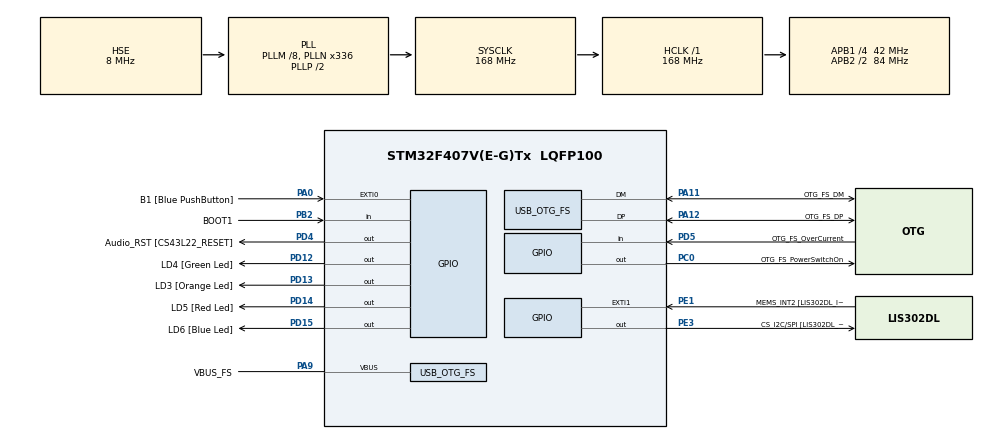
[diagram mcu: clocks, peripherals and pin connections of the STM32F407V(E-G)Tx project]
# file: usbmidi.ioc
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Mcu.Family=STM32F4
Mcu.Name=STM32F407V(E-G)Tx
Mcu.Package=LQFP100
NVIC.OTG_FS_IRQn=true\:0\:0\:false
NVIC.PriorityGroup=NVIC_PRIORITYGROUP_0
PA0-WKUP.GPIO_Label=B1 [Blue PushButton]
PA0-WKUP.GPIO_ModeDefaultEXTI=GPIO_MODE_EVT_RISING
PA0-WKUP.GPIO_PuPd=GPIO_NOPULL
PA0-WKUP.Signal=GPXTI0
PA10.GPIO_Label=OTG_FS_ID
PA10.GPIO_Mode=GPIO_MODE_AF_PP
PA10.GPIO_PuPd=GPIO_NOPULL
PA10.GPIO_Speed=GPIO_SPEED_LOW
PA10.Signal=USB_OTG_FS_ID
PA11.GPIO_Label=OTG_FS_DM
PA11.GPIO_Mode=GPIO_MODE_AF_PP
PA11.GPIO_PuPd=GPIO_NOPULL
PA11.GPIO_Speed=GPIO_SPEED_LOW
PA11.Mode=Device_Only
PA11.Signal=USB_OTG_FS_DM
PA12.GPIO_Label=OTG_FS_DP
PA12.GPIO_Mode=GPIO_MODE_AF_PP
PA12.GPIO_PuPd=GPIO_NOPULL
PA12.GPIO_Speed=GPIO_SPEED_LOW
PA12.Mode=Device_Only
PA12.Signal=USB_OTG_FS_DP
PA13.GPIO_Label=SWDIO
PA13.Mode=Trace-Asynchronous_SW
PA13.Signal=SYS_JTMS-SWDIO
PA14.GPIO_Label=SWCLK
PA14.Mode=Trace-Asynchronous_SW
PA14.Signal=SYS_JTCK-SWCLK
PA4.GPIO_Label=I2S3_WS [CS43L22_LRCK]
PA4.GPIO_Mode=GPIO_MODE_AF_PP
PA4.GPIO_PuPd=GPIO_NOPULL
PA4.GPIO_Speed=GPIO_SPEED_LOW
PA4.Signal=I2S3_WS
PA5.GPIO_Label=SPI1_SCK [LIS302DL_SCL/SPC]
PA5.GPIO_Mode=GPIO_MODE_AF_PP
PA5.GPIO_PuPd=GPIO_NOPULL
PA5.GPIO_Speed=GPIO_SPEED_LOW
PA5.Signal=SPI1_SCK
PA6.GPIO_Label=SPI1_MISO [LIS302DL_SDO]
PA6.GPIO_Mode=GPIO_MODE_AF_PP
PA6.GPIO_PuPd=GPIO_NOPULL
PA6.GPIO_Speed=GPIO_SPEED_LOW
PA6.Signal=SPI1_MISO
PA7.GPIO_Label=SPI1_MOSI [LIS302DL_SDA/SDI/SDO]
PA7.GPIO_Mode=GPIO_MODE_AF_PP
PA7.GPIO_PuPd=GPIO_NOPULL
PA7.GPIO_Speed=GPIO_SPEED_LOW
PA7.Signal=SPI1_MOSI
PA9.GPIO_Label=VBUS_FS
PA9.GPIO_Mode=GPIO_MODE_INPUT
PA9.GPIO_PuPd=GPIO_NOPULL
PA9.Mode=Activate_VBUS
PA9.Signal=USB_OTG_FS_VBUS
PB10.GPIO_Label=CLK_IN [MP45DT02_CLK]
PB10.GPIO_Mode=GPIO_MODE_AF_PP
PB10.GPIO_PuPd=GPIO_NOPULL
PB10.GPIO_Speed=GPIO_SPEED_LOW
PB10.Signal=I2S2_CK
PB2.GPIO_Label=BOOT1
PB2.GPIO_Mode=GPIO_MODE_INPUT
PB2.GPIO_PuPd=GPIO_NOPULL
PB2.Signal=GPIO_Input
PB3.GPIO_Label=SWO
PB3.Mode=Trace-Asynchronous_SW
PB3.Signal=SYS_JTDO-SWO
PB6.GPIO_Label=Audio_SCL [CS43L22_SCL]
PB6.GPIO_Mode=GPIO_MODE_AF_OD
PB6.GPIO_PuPd=GPIO_NOPULL
PB6.GPIO_Speed=GPIO_SPEED_LOW
PB6.Signal=I2C1_SCL
PB9.GPIO_Label=Audio_SDA [CS43L22_SDA]
PB9.GPIO_Mode=GPIO_MODE_AF_OD
PB9.GPIO_PuPd=GPIO_NOPULL
PB9.GPIO_Speed=GPIO_SPEED_LOW
PB9.Signal=I2C1_SDA
PC0.GPIO_Label=OTG_FS_PowerSwitchOn
PC0.GPIO_PuPd=GPIO_NOPULL
PC0.GPIO_Speed=GPIO_SPEED_LOW
PC0.Signal=GPIO_Output
PC10.GPIO_Label=I2S3_SCK [CS43L22_SCLK]
PC10.GPIO_Mode=GPIO_MODE_AF_PP
PC10.GPIO_PuPd=GPIO_NOPULL
PC10.GPIO_Speed=GPIO_SPEED_LOW
PC10.Signal=I2S3_CK
PC12.GPIO_Label=I2S3_SD [CS43L22_SDIN]
PC12.GPIO_Mode=GPIO_MODE_AF_PP
PC12.GPIO_PuPd=GPIO_NOPULL
PC12.GPIO_Speed=GPIO_SPEED_LOW
PC12.Signal=I2S3_SD
PC14-OSC32_IN.GPIO_Label=PC14-OSC32_IN
PC14-OSC32_IN.Signal=RCC_OSC32_IN
PC15-OSC32_OUT.GPIO_Label=PC15-OSC32_OUT
PC15-OSC32_OUT.Signal=RCC_OSC32_OUT
PC3.GPIO_Label=PDM_OUT [MP45DT02_DOUT]
PC3.GPIO_Mode=GPIO_MODE_AF_PP
PC3.GPIO_PuPd=GPIO_NOPULL
PC3.GPIO_Speed=GPIO_SPEED_LOW
PC3.Signal=I2S2_SD
PC7.GPIO_Label=I2S3_MCK [CS43L22_MCLK]
PC7.GPIO_Mode=GPIO_MODE_AF_PP
PC7.GPIO_PuPd=GPIO_NOPULL
PC7.GPIO_Speed=GPIO_SPEED_LOW
PC7.Signal=I2S3_MCK
PD12.GPIO_Label=LD4 [Green Led]
PD12.GPIO_PuPd=GPIO_NOPULL
PD12.GPIO_Speed=GPIO_SPEED_LOW
PD12.Signal=GPIO_Output
PD13.GPIO_Label=LD3 [Orange Led]
PD13.GPIO_PuPd=GPIO_NOPULL
PD13.GPIO_Speed=GPIO_SPEED_LOW
PD13.Signal=GPIO_Output
PD14.GPIO_Label=LD5 [Red Led]
PD14.GPIO_PuPd=GPIO_NOPULL
PD14.GPIO_Speed=GPIO_SPEED_LOW
PD14.Signal=GPIO_Output
PD15.GPIO_Label=LD6 [Blue Led]
PD15.GPIO_PuPd=GPIO_NOPULL
PD15.GPIO_Speed=GPIO_SPEED_LOW
PD15.Signal=GPIO_Output
PD4.GPIO_Label=Audio_RST [CS43L22_RESET]
PD4.GPIO_PuPd=GPIO_NOPULL
PD4.GPIO_Speed=GPIO_SPEED_LOW
PD4.Signal=GPIO_Output
PD5.GPIO_Label=OTG_FS_OverCurrent
PD5.GPIO_Mode=GPIO_MODE_INPUT
PD5.GPIO_PuPd=GPIO_NOPULL
PD5.Signal=GPIO_Input
PE1.GPIO_Label=MEMS_INT2 [LIS302DL_INT2]
PE1.GPIO_ModeDefaultEXTI=GPIO_MODE_EVT_RISING
PE1.GPIO_PuPd=GPIO_NOPULL
PE1.Signal=GPXTI1
PE3.GPIO_Label=CS_I2C/SPI [LIS302DL_CS_I2C/SPI]
PE3.GPIO_PuPd=GPIO_NOPULL
PE3.GPIO_Speed=GPIO_SPEED_LOW
PE3.Signal=GPIO_Output
PH0-OSC_IN.GPIO_Label=PH0-OSC_IN
PH0-OSC_IN.Mode=HSE-External-Oscillator
PH0-OSC_IN.Signal=RCC_OSC_IN
PH1-OSC_OUT.GPIO_Label=PH1-OSC_OUT
PH1-OSC_OUT.Mode=HSE-External-Oscillator
PH1-OSC_OUT.Signal=RCC_OSC_OUT
ProjectManager.TargetToolchain=MDK-ARM V5
RCC.AHBFreq_Value=168000000
RCC.APB1CLKDivider=RCC_HCLK_DIV4
RCC.APB1Freq_Value=42000000
RCC.APB1TimFreq_Value=84000000
RCC.APB2CLKDivider=RCC_HCLK_DIV2
RCC.APB2Freq_Value=84000000
RCC.APB2TimFreq_Value=168000000
RCC.CortexFreq_Value=168000000
RCC.HCLKFreq_Value=168000000
RCC.HSE_VALUE=8000000
RCC.HSI_VALUE=16000000
RCC.LSE_VALUE=32768
RCC.PLLM=8
RCC.PLLN=336
RCC.PLLQ=7
RCC.SYSCLKFreq_VALUE=168000000
RCC.SYSCLKSource=RCC_SYSCLKSOURCE_PLLCLK
RCC.VCOOutputFreq_Value=336000000
USB_DEVICE.CLASS_NAME-CDC_FS=CDC
USB_DEVICE.MANUFACTURER_STRING-CDC_FS=RassIndustries
USB_DEVICE.PRODUCT_STRING_CDC_FS=RassIndustrisMidiPort
USB_DEVICE.USBD_HandleTypeDef-CDC_FS=hUsbDeviceFS
USB_DEVICE.VirtualMode-CDC_FS=Cdc
USB_DEVICE.VirtualModeFS=Cdc_FS
USB_OTG_FS.VirtualMode=Device_Only
VP_USB_DEVICE_VS_USB_DEVICE_CDC_FS.Mode=CDC_FS
board=STM32F4DISCOVERY

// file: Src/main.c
/**
  ******************************************************************************
  * File Name          : main.c
  * Description        : Main program body
  ******************************************************************************
  *
  * COPYRIGHT(c) 2015 STMicroelectronics
  *
  * Redistribution and use in source and binary forms, with or without modification,
  * are permitted provided that the following conditions are met:
  *   1. Redistributions of source code must retain the above copyright notice,
  *      this list of conditions and the following disclaimer.
  *   2. Redistributions in binary form must reproduce the above copyright notice,
  *      this list of conditions and the following disclaimer in the documentation
  *      and/or other materials provided with the distribution.
  *   3. Neither the name of STMicroelectronics nor the names of its contributors
  *      may be used to endorse or promote products derived from this software
  *      without specific prior written permission.
  *
  * THIS SOFTWARE IS PROVIDED BY THE COPYRIGHT HOLDERS AND CONTRIBUTORS "AS IS"
  * AND ANY EXPRESS OR IMPLIED WARRANTIES, INCLUDING, BUT NOT LIMITED TO, THE
  * IMPLIED WARRANTIES OF MERCHANTABILITY AND FITNESS FOR A PARTICULAR PURPOSE ARE
  * DISCLAIMED. IN NO EVENT SHALL THE COPYRIGHT HOLDER OR CONTRIBUTORS BE LIABLE
  * FOR ANY DIRECT, INDIRECT, INCIDENTAL, SPECIAL, EXEMPLARY, OR CONSEQUENTIAL
  * DAMAGES (INCLUDING, BUT NOT LIMITED TO, PROCUREMENT OF SUBSTITUTE GOODS OR
  * SERVICES; LOSS OF USE, DATA, OR PROFITS; OR BUSINESS INTERRUPTION) HOWEVER
  * CAUSED AND ON ANY THEORY OF LIABILITY, WHETHER IN CONTRACT, STRICT LIABILITY,
  * OR TORT (INCLUDING NEGLIGENCE OR OTHERWISE) ARISING IN ANY WAY OUT OF THE USE
  * OF THIS SOFTWARE, EVEN IF ADVISED OF THE POSSIBILITY OF SUCH DAMAGE.
  *
  ******************************************************************************
  */
#include "stm32f4xx_hal.h"
#include "usb_device.h"
#include "usbd_cdc_if.h"
#include "FreeRTOS.h"
#include "task.h"
#include "midiio.h"

/* USER CODE BEGIN PV */
/* Private variables ---------------------------------------------------------*/
volatile uint8_t received_flag = 0;
volatile uint8_t *midibuf;
volatile uint8_t midilen;
/* USER CODE END PV */

void SystemClock_Config(void);
static void MX_GPIO_Init(void);
void UartToUsbTask(void *argument);
void UsbToUartTask(void *argument);

/* USER CODE BEGIN PFP */
/* Private function prototypes -----------------------------------------------*/
UART_HandleTypeDef huart2;
TaskHandle_t defaultTaskHandle;
/* USER CODE END PFP */

int main(void)
{

  /* Reset of all peripherals, Initializes the Flash interface and the Systick. */
  HAL_Init();

  /* Configure the system clock */
  SystemClock_Config();

  /* Initialize all configured peripherals */
  MX_GPIO_Init();
  MIDI_UART_Init();

	xTaskCreate(UartToUsbTask, "UartToUsbTask" ,128, (void*)NULL, 0, &defaultTaskHandle );
	xTaskCreate(UsbToUartTask, "UsbToUartTask" ,128, (void*)NULL, 0, &defaultTaskHandle );

	/* Start scheduler */
	vTaskStartScheduler();

  while (1)
  {

	}

}

/** System Clock Configuration
*/
void SystemClock_Config(void)
{

  RCC_OscInitTypeDef RCC_OscInitStruct;
  RCC_ClkInitTypeDef RCC_ClkInitStruct;

  __PWR_CLK_ENABLE();

  __HAL_PWR_VOLTAGESCALING_CONFIG(PWR_REGULATOR_VOLTAGE_SCALE1);

  RCC_OscInitStruct.OscillatorType = RCC_OSCILLATORTYPE_HSE;
  RCC_OscInitStruct.HSEState = RCC_HSE_ON;
  RCC_OscInitStruct.PLL.PLLState = RCC_PLL_ON;
  RCC_OscInitStruct.PLL.PLLSource = RCC_PLLSOURCE_HSE;
  RCC_OscInitStruct.PLL.PLLM = 8;
  RCC_OscInitStruct.PLL.PLLN = 336;
  RCC_OscInitStruct.PLL.PLLP = RCC_PLLP_DIV2;
  RCC_OscInitStruct.PLL.PLLQ = 7;
  HAL_RCC_OscConfig(&RCC_OscInitStruct);

  RCC_ClkInitStruct.ClockType = RCC_CLOCKTYPE_SYSCLK|RCC_CLOCKTYPE_PCLK1
                              |RCC_CLOCKTYPE_PCLK2;
  RCC_ClkInitStruct.SYSCLKSource = RCC_SYSCLKSOURCE_PLLCLK;
  RCC_ClkInitStruct.AHBCLKDivider = RCC_SYSCLK_DIV1;
  RCC_ClkInitStruct.APB1CLKDivider = RCC_HCLK_DIV4;
  RCC_ClkInitStruct.APB2CLKDivider = RCC_HCLK_DIV2;
  HAL_RCC_ClockConfig(&RCC_ClkInitStruct, FLASH_LATENCY_5);

  HAL_SYSTICK_Config(HAL_RCC_GetHCLKFreq()/1000);

  HAL_SYSTICK_CLKSourceConfig(SYSTICK_CLKSOURCE_HCLK);

  /* SysTick_IRQn interrupt configuration */
  HAL_NVIC_SetPriority(SysTick_IRQn, 0, 0);
}

/** Configure pins as
        * Analog
        * Input
        * Output
        * EVENT_OUT
        * EXTI
     PC3   ------> I2S2_SD
     PA4   ------> I2S3_WS
     PA5   ------> SPI1_SCK
     PA6   ------> SPI1_MISO
     PA7   ------> SPI1_MOSI
     PB10   ------> I2S2_CK
     PC7   ------> I2S3_MCK
     PC10   ------> I2S3_CK
     PC12   ------> I2S3_SD
     PB6   ------> I2C1_SCL
     PB9   ------> I2C1_SDA
*/
void MX_GPIO_Init(void)
{

  GPIO_InitTypeDef GPIO_InitStruct;

  /* GPIO Ports Clock Enable */
  __GPIOE_CLK_ENABLE();
  __GPIOC_CLK_ENABLE();
  __GPIOH_CLK_ENABLE();
  __GPIOA_CLK_ENABLE();
  __GPIOB_CLK_ENABLE();
  __GPIOD_CLK_ENABLE();

  /*Configure GPIO pin : CS_I2C_SPI_Pin */
  GPIO_InitStruct.Pin = CS_I2C_SPI_Pin;
  GPIO_InitStruct.Mode = GPIO_MODE_OUTPUT_PP;
  GPIO_InitStruct.Pull = GPIO_NOPULL;
  GPIO_InitStruct.Speed = GPIO_SPEED_LOW;
  HAL_GPIO_Init(CS_I2C_SPI_GPIO_Port, &GPIO_InitStruct);

  /*Configure GPIO pin : OTG_FS_PowerSwitchOn_Pin */
  GPIO_InitStruct.Pin = OTG_FS_PowerSwitchOn_Pin;
  GPIO_InitStruct.Mode = GPIO_MODE_OUTPUT_PP;
  GPIO_InitStruct.Pull = GPIO_NOPULL;
  GPIO_InitStruct.Speed = GPIO_SPEED_LOW;
  HAL_GPIO_Init(OTG_FS_PowerSwitchOn_GPIO_Port, &GPIO_InitStruct);

  /*Configure GPIO pin : PDM_OUT_Pin */
  GPIO_InitStruct.Pin = PDM_OUT_Pin;
  GPIO_InitStruct.Mode = GPIO_MODE_AF_PP;
  GPIO_InitStruct.Pull = GPIO_NOPULL;
  GPIO_InitStruct.Speed = GPIO_SPEED_LOW;
  GPIO_InitStruct.Alternate = GPIO_AF5_SPI2;
  HAL_GPIO_Init(PDM_OUT_GPIO_Port, &GPIO_InitStruct);

  /*Configure GPIO pin : B1_Pin */
  GPIO_InitStruct.Pin = B1_Pin;
  GPIO_InitStruct.Mode = GPIO_MODE_EVT_RISING;
  GPIO_InitStruct.Pull = GPIO_NOPULL;
  HAL_GPIO_Init(B1_GPIO_Port, &GPIO_InitStruct);

  /*Configure GPIO pin : PA4 */
  GPIO_InitStruct.Pin = GPIO_PIN_4;
  GPIO_InitStruct.Mode = GPIO_MODE_AF_PP;
  GPIO_InitStruct.Pull = GPIO_NOPULL;
  GPIO_InitStruct.Speed = GPIO_SPEED_LOW;
  GPIO_InitStruct.Alternate = GPIO_AF6_SPI3;
  HAL_GPIO_Init(GPIOA, &GPIO_InitStruct);

  /*Configure GPIO pins : PA5 PA6 PA7 */
  GPIO_InitStruct.Pin = GPIO_PIN_5|GPIO_PIN_6|GPIO_PIN_7;
  GPIO_InitStruct.Mode = GPIO_MODE_AF_PP;
  GPIO_InitStruct.Pull = GPIO_NOPULL;
  GPIO_InitStruct.Speed = GPIO_SPEED_LOW;
  GPIO_InitStruct.Alternate = GPIO_AF5_SPI1;
  HAL_GPIO_Init(GPIOA, &GPIO_InitStruct);

  /*Configure GPIO pin : BOOT1_Pin */
  GPIO_InitStruct.Pin = BOOT1_Pin;
  GPIO_InitStruct.Mode = GPIO_MODE_INPUT;
  GPIO_InitStruct.Pull = GPIO_NOPULL;
  HAL_GPIO_Init(BOOT1_GPIO_Port, &GPIO_InitStruct);

  /*Configure GPIO pin : CLK_IN_Pin */
  GPIO_InitStruct.Pin = CLK_IN_Pin;
  GPIO_InitStruct.Mode = GPIO_MODE_AF_PP;
  GPIO_InitStruct.Pull = GPIO_NOPULL;
  GPIO_InitStruct.Speed = GPIO_SPEED_LOW;
  GPIO_InitStruct.Alternate = GPIO_AF5_SPI2;
  HAL_GPIO_Init(CLK_IN_GPIO_Port, &GPIO_InitStruct);

  /*Configure GPIO pins : LD4_Pin LD3_Pin LD5_Pin LD6_Pin
                           Audio_RST_Pin */
  GPIO_InitStruct.Pin = LD4_Pin|LD3_Pin|LD5_Pin|LD6_Pin
                          |Audio_RST_Pin;
  GPIO_InitStruct.Mode = GPIO_MODE_OUTPUT_PP;
  GPIO_InitStruct.Pull = GPIO_NOPULL;
  GPIO_InitStruct.Speed = GPIO_SPEED_LOW;
  HAL_GPIO_Init(GPIOD, &GPIO_InitStruct);

  /*Configure GPIO pins : PC7 I2S3_SCK_Pin PC12 */
  GPIO_InitStruct.Pin = GPIO_PIN_7|I2S3_SCK_Pin|GPIO_PIN_12;
  GPIO_InitStruct.Mode = GPIO_MODE_AF_PP;
  GPIO_InitStruct.Pull = GPIO_NOPULL;
  GPIO_InitStruct.Speed = GPIO_SPEED_LOW;
  GPIO_InitStruct.Alternate = GPIO_AF6_SPI3;
  HAL_GPIO_Init(GPIOC, &GPIO_InitStruct);

  /*Configure GPIO pin : OTG_FS_OverCurrent_Pin */
  GPIO_InitStruct.Pin = OTG_FS_OverCurrent_Pin;
  GPIO_InitStruct.Mode = GPIO_MODE_INPUT;
  GPIO_InitStruct.Pull = GPIO_NOPULL;
  HAL_GPIO_Init(OTG_FS_OverCurrent_GPIO_Port, &GPIO_InitStruct);

  /*Configure GPIO pins : Audio_SCL_Pin Audio_SDA_Pin */
  GPIO_InitStruct.Pin = Audio_SCL_Pin|Audio_SDA_Pin;
  GPIO_InitStruct.Mode = GPIO_MODE_AF_OD;
  GPIO_InitStruct.Pull = GPIO_PULLUP;
  GPIO_InitStruct.Speed = GPIO_SPEED_LOW;
  GPIO_InitStruct.Alternate = GPIO_AF4_I2C1;
  HAL_GPIO_Init(GPIOB, &GPIO_InitStruct);

  /*Configure GPIO pin : MEMS_INT2_Pin */
  GPIO_InitStruct.Pin = MEMS_INT2_Pin;
  GPIO_InitStruct.Mode = GPIO_MODE_EVT_RISING;
  GPIO_InitStruct.Pull = GPIO_NOPULL;
  HAL_GPIO_Init(MEMS_INT2_GPIO_Port, &GPIO_InitStruct);

}

/* USER CODE BEGIN 4 */
/* StartDefaultTask function */
void UartToUsbTask(void  * argument)
{

	MIDI_Packet midimessage;

	MX_USB_DEVICE_Init();
	while(!USBD_Ready); // substituir isto por events!

  while(1)
  {
		midimessage = GetMidiMessageUART();
		SendMidiMessageUSB(midimessage);
  }

}

void UsbToUartTask(void  * argument)
{

	MIDI_Packet message;

	//MX_USB_DEVICE_Init();
	while(!USBD_Ready);
	USBD_CDC_ReceivePacket(&hUsbDeviceFS);
	while(1){

		 message = GetMidiMessageUSB();
		 SendMidiMessageUART(message);

	}
	//vTaskDelete(xTaskGetCurrentTaskHandle());

}

/* USER CODE END 4 */

/************************ (C) COPYRIGHT STMicroelectronics *****END OF FILE****/
